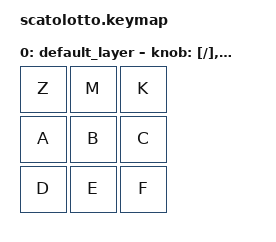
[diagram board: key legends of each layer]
#include <behaviors.dtsi>
#include <dt-bindings/zmk/keys.h>
#include <dt-bindings/zmk/bt.h>
#include <dt-bindings/zmk/outputs.h>

// Layers
#define DEFAULT 0
#define FN 1

/ {  
  keymap {
    compatible = "zmk,keymap";

    /* Default Layer
     * .---------------------------.
     * |  ENC | XIAO | CALC |  FN  |
     * |------+------+------+------|
     * |  DEL |   /  |   *  |   -  |
     * |------+------+------+------|
     * |   7  |   8  |   9  |      |
     * |------+------+------+   +  |
     * |   4  |   5  |   6  |      |
     * |------+------+------+------|
     * |   1  |   2  |   3  |   E  |
     * |------+------+------|   N  |
     * |      0      |   ,  |   T  |
     * '---------------------------'
     */

    default_layer {
      bindings = <
        &kp Z    &kp M    &kp K
        &kp A    &kp B    &kp C
        &kp D    &kp E    &kp F
      >;

      sensor-bindings = <
        &inc_dec_kp LEFT_BRACKET RIGHT_BRACKET &inc_dec_kp LA(F13) LA(F14) &inc_dec_kp LA(F15) LA(F16)
      >;
    }; 
    
    /* Function Layer
     * .---------------------------.
     * | ENC  | XIAO |      |      |
     * |------+------+------+------|
     * | BT-C |      |      | BOOT |
     * |------+------+------+------|
     * |      |      |      | OUT  |
     * |------+------+------+      |
     * | BT-3 | BT-4 |      | USB  |
     * |------+------+------+------|
     * | BT-0 | BT-1 | BT-2 | OUT  |
     * |------+------+------|      |
     * |             |      | BLE  |
     * '---------------------------'
     */
    
  };
};
